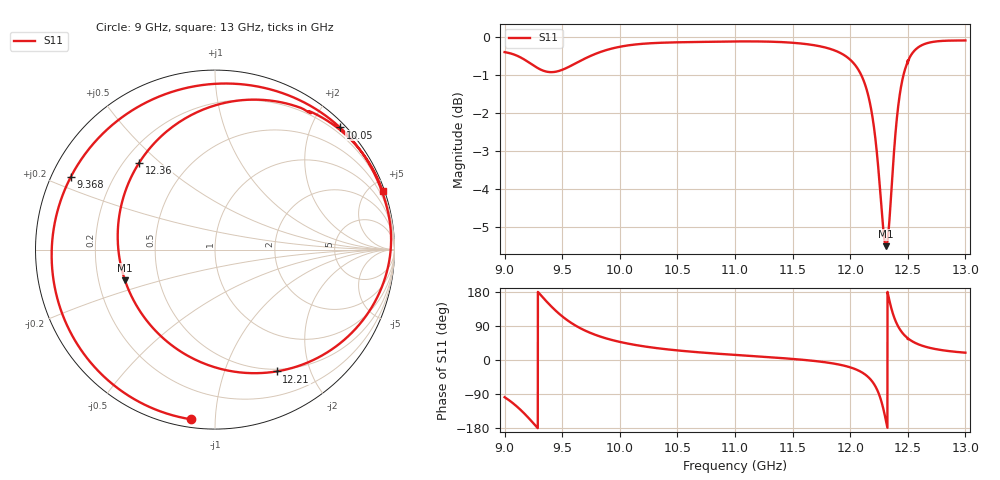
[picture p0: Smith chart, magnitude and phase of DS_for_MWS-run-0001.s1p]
! TOUCHSTONE file generated by CST DESIGN STUDIO
! Date and time: Tue Feb  4 16:25:35 2025
! Project name: C:\Work\MatlabApps\UnitCellOptimizationMatlab\CST\unitcell.cst
! Tree item: Tasks\Sweep1\SPara1\S-Parameters
! Header version: 2024
! Port assignment regex: !\s*Touchstone port\s*([0-9]+)\s*=\s*(CST MWS port|CST DES external port|CST DES block port)\s*(.+)\s* \(\"(.*)\"\)(\s*mode\s*([0-9]+))?.*
! Touchstone port assignment:
! Touchstone port 1 = CST DES external port 1 ("")
# GHz S MA R 50
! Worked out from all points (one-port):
!   4001 points, 9 GHz to 13 GHz, reference 50 ohm
!   lowest |S11| = -5.5 dB at 12.31 GHz (marker M1), VSWR 3.26, Z = 15.7 - j7.53 ohm
!   |S11| at or under -10 dB: nowhere
!   S11 on the Smith chart (normalised r, x): 9 GHz: 0.04, -0.87; 9.368 GHz: 0.06, +0.24; 10.05 GHz: 0.09, +2.45; 12.21 GHz: 0.47, -1.52; 12.36 GHz: 0.26, +0.43; 13 GHz: 0.19, +5.88
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9  0.9549 -98.1
9.114  0.9436 -124.7
9.224  0.9226 -158.2
9.294  0.9086 178.0
9.368  0.8997 153.1
9.5  0.905 115.2
9.601  0.9203 93.5
9.733  0.942 73.0
10  0.9705 47.7
10.052  0.9736 44.4
10.5  0.9837 25.3
11  0.9863 13.4
11.5  0.9824 2.8
11.799  0.967 -6.6
12  0.9332 -19.4
12.123  0.8708 -36.8
12.206  0.7609 -63.1
12.263  0.6188 -101.6
12.286  0.5598 -126.7
12.311  0.53 -161.1
12.336  0.5617 162.8
12.362  0.6425 131.1
12.389  0.7341 106.6
12.417  0.811 88.2
12.5  0.9281 56.1
12.572  0.9639 44.0
12.666  0.981 33.9
13  0.9893 19.3
